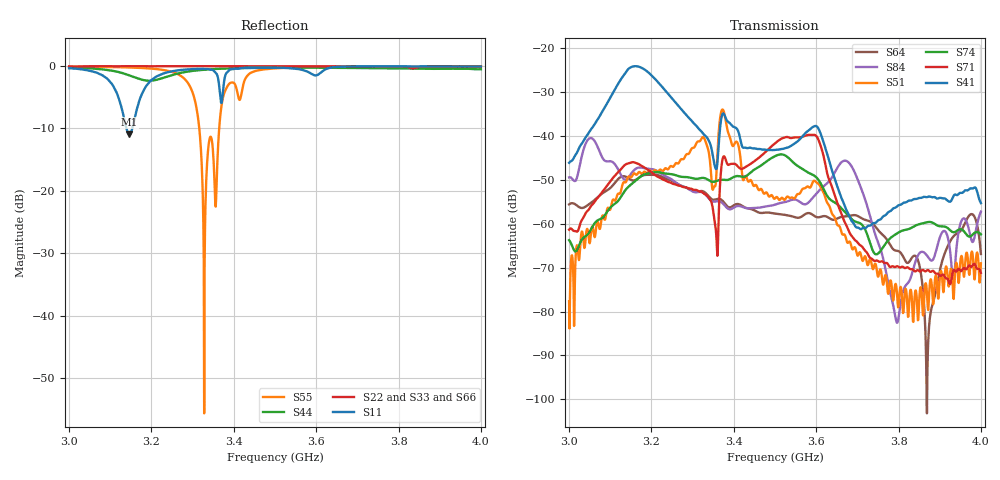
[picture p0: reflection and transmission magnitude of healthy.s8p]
! TOUCHSTONE file generated by CST MICROWAVE STUDIO
! Date and time: Fri Sep  4 21:34:51 2026
! Project name: final_antenna_3.5Ghz - Multiantenna.cst
! Header version: 2024
! Port assignment regex: !\s*Touchstone port\s*([0-9]+)\s*=\s*(CST MWS port|CST DES external port|CST DES block port)\s*(.+)\s* \(\"(.*)\"\)(\s*mode\s*([0-9]+))?.*
! Touchstone port assignment:
! Touchstone port 1 = CST MWS port 1 ("")
! Touchstone port 2 = CST MWS port 2 ("")
! Touchstone port 3 = CST MWS port 3 ("")
! Touchstone port 4 = CST MWS port 4 ("")
! Touchstone port 5 = CST MWS port 5 ("")
! Touchstone port 6 = CST MWS port 6 ("")
! Touchstone port 7 = CST MWS port 7 ("")
! Touchstone port 8 = CST MWS port 8 ("")
# GHz S RI R 50
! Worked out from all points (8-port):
!   1001 points, 3 GHz to 4 GHz, reference 50 ohm
!   strongest paths, dB at 3 GHz, 3.25 GHz, 3.5 GHz, 3.75 GHz, 4 GHz:
!     S41: -46.1, -31.5, -43.1, -59.3, -55.3
!     S71: -61.3, -50.8, -41.6, -68.5, -71.2
!     S74: -63.7, -48.7, -44.6, -66.8, -62.4
!     S51: -77.7, -47.0, -54.2, -72.0, -69.0
!     S84: -49.4, -49.9, -55.6, -64.2, -57.2
!     S64: -55.6, -50.2, -57.7, -61.4, -66.9
!   lowest |S11| = -11.0 dB at 3.146 GHz (marker M1), VSWR 1.79, Z = 72.3 - j27.7 ohm
!   |S11| at or under -10 dB: 3.139194 GHz to 3.153294 GHz (14.1 MHz wide, 0.448 % of centre)
